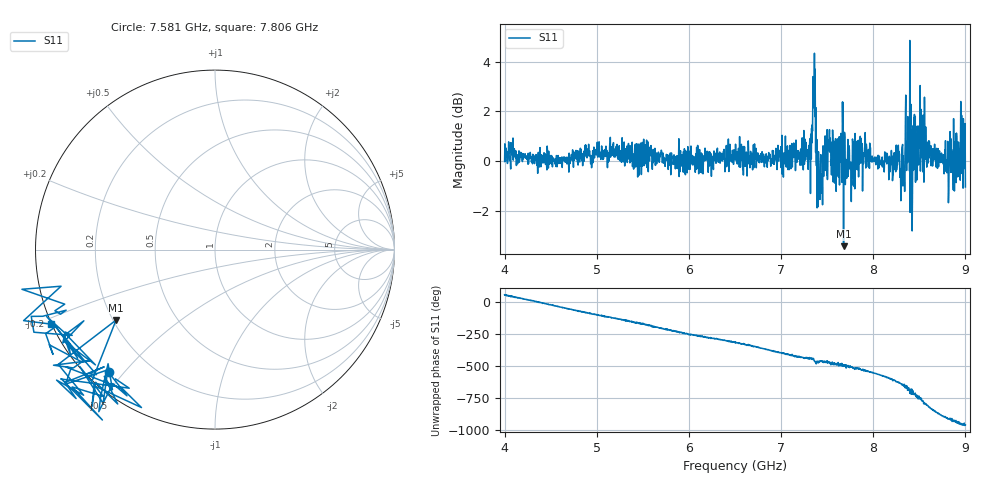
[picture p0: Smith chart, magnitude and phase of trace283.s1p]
! Created with skrf 1.8.0 (http://scikit-rf.org).
# Hz S RI R 50.0
!freq ReS11 ImS11
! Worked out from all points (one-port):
!   1601 points, 4 GHz to 9 GHz, reference 50 ohm
!   lowest |S11| = -3.4 dB at 7.678 GHz (marker M1), VSWR 5.19, Z = 10.6 - j15.3 ohm
!   |S11| at or under -10 dB: nowhere
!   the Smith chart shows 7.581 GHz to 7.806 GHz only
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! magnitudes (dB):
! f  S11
! 4 GHz  0.0
! 4.625 GHz  -0.2
! 5.25 GHz  0.1
! 5.875 GHz  0.0
! 6.5 GHz  0.2
! 7.125 GHz  0.3
! 7.303 GHz  0.5
! 7.353 GHz  2.4
! 7.372 GHz  1.9
! 7.4 GHz  -1.3
! 7.425 GHz  -0.6
! 7.509 GHz  0.6
! 7.603 GHz  -0.6
! 7.65 GHz  1.1
! 7.678 GHz  -3.4
! 7.75 GHz  -0.3
! 7.928 GHz  0.6
! 8.097 GHz  0.2
! 8.259 GHz  0.2
! 8.316 GHz  0.6
! 8.375 GHz  1.8
! 8.438 GHz  -0.3
! 8.459 GHz  -0.8
! 8.519 GHz  2.1
! 8.575 GHz  0.7
! 8.806 GHz  -0.1
! 8.972 GHz  0.4
! 9 GHz  -1.0
